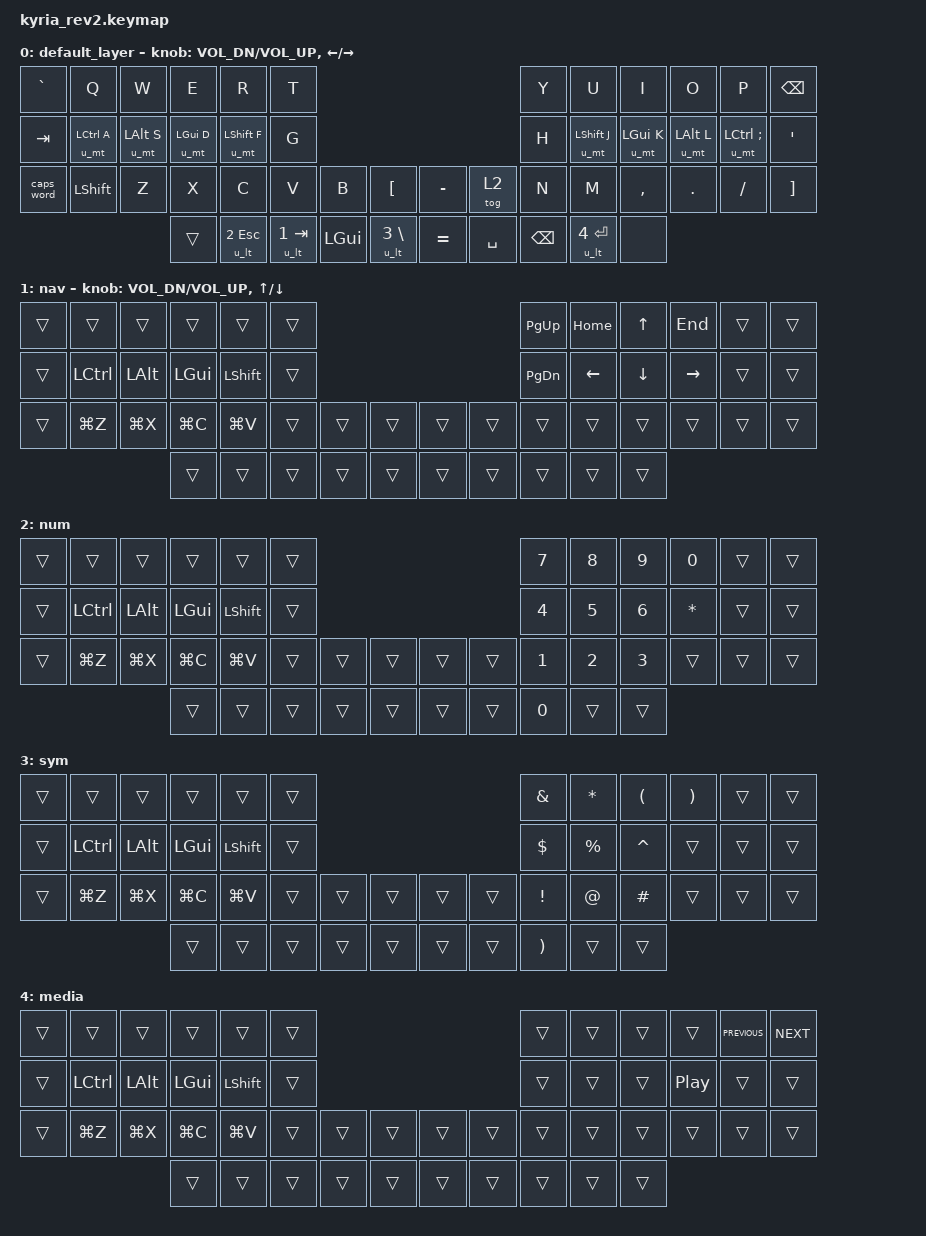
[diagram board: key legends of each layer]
/*
 * Copyright (c) 2020 The ZMK Contributors
 *
 * SPDX-Liicense-Identifier: MIT
 */

#include <behaviors.dtsi>
#include "miryoku_alt.dtsi"
#include <dt-bindings/zmk/keys.h>

/ {
    keymap {
        compatible = "zmk,keymap";

        default_layer {
            bindings = <
        &kp GRAVE &kp Q           &kp W           &kp E             &kp R      &kp T                                                                           &kp Y      &kp U      &kp I    &kp O      &kp P     &kp BACKSPACE
        &kp TAB  &u_mt LEFT_CONTROL A  &u_mt LEFT_ALT S  &u_mt LEFT_GUI D  &u_mt LEFT_SHIFT F      &kp G                                                                           &kp H  &u_mt LEFT_SHIFT J      &u_mt LEFT_GUI K      &u_mt LEFT_ALT L    &u_mt LEFT_CONTROL SEMI  &kp SINGLE_QUOTE
    &caps_word    &kp LEFT_SHIFT    &kp Z           &kp X           &kp C             &kp V      &kp B   &kp LEFT_BRACKET  &kp MINUS      &tog 2          &kp N      &kp M  &kp COMMA  &kp DOT  &kp SLASH         &kp RIGHT_BRACKET
                                                            &trans       &u_lt 2 ESC  &u_lt 1 TAB  &kp LEFT_GUI  &u_lt 3 BACKSLASH        &kp EQUAL  &kp SPACE  &kp BACKSPACE  &u_lt 4 RET      &none
            >;
            sensor-bindings = <&inc_dec_kp C_VOL_DN C_VOL_UP &inc_dec_kp LEFT_ARROW RIGHT_ARROW>;
        };

        nav {
            bindings = <
 &trans            &trans        &trans        &trans          &trans  &trans                                      &kp PG_UP  &kp HOME    &kp UP    &kp END  &trans  &trans
 &trans  &kp LEFT_CONTROL  &kp LEFT_ALT  &kp LEFT_GUI  &kp LEFT_SHIFT  &trans                                  &kp PAGE_DOWN  &kp LEFT  &kp DOWN  &kp RIGHT  &trans  &trans
 &trans         &kp LG(Z)     &kp LG(X)     &kp LG(C)       &kp LG(V)  &trans  &trans  &trans  &trans  &trans         &trans    &trans    &trans     &trans  &trans  &trans
                                               &trans          &trans  &trans  &trans  &trans  &trans  &trans         &trans    &trans    &trans
            >;
            sensor-bindings = <&inc_dec_kp C_VOL_DN C_VOL_UP &inc_dec_kp UP_ARROW DOWN_ARROW>;
        };

        num {
            bindings = <
 &trans            &trans        &trans        &trans          &trans  &trans                                  &kp NUMBER_7  &kp NUMBER_8  &kp NUMBER_9  &kp NUMBER_0  &trans  &trans
 &trans  &kp LEFT_CONTROL  &kp LEFT_ALT  &kp LEFT_GUI  &kp LEFT_SHIFT  &trans                                  &kp NUMBER_4  &kp NUMBER_5  &kp NUMBER_6     &kp ASTRK  &trans  &trans
 &trans         &kp LG(Z)     &kp LG(X)     &kp LG(C)       &kp LG(V)  &trans  &trans  &trans  &trans  &trans  &kp NUMBER_1  &kp NUMBER_2  &kp NUMBER_3        &trans  &trans  &trans
                                               &trans          &trans  &trans  &trans  &trans  &trans  &trans  &kp NUMBER_0  &trans        &trans
            >;
        };

        sym {
            bindings = <
 &trans            &trans        &trans        &trans          &trans  &trans                                         &kp AMPS         &kp ASTRK  &kp LEFT_PARENTHESIS  &kp RIGHT_PARENTHESIS  &trans  &trans
 &trans  &kp LEFT_CONTROL  &kp LEFT_ALT  &kp LEFT_GUI  &kp LEFT_SHIFT  &trans                                       &kp DOLLAR         &kp PERCENT             &kp CARET                 &trans  &trans  &trans
 &trans         &kp LG(Z)     &kp LG(X)     &kp LG(C)       &kp LG(V)  &trans  &trans  &trans  &trans  &trans  &kp EXCLAMATION         &kp AT_SIGN             &kp HASH                 &trans  &trans  &trans
                                               &trans          &trans  &trans  &trans  &trans  &trans  &trans  &kp RIGHT_PARENTHESIS   &trans                  &trans
            >;
        };

        media {
            bindings = <
 &trans            &trans        &trans        &trans          &trans  &trans                                  &trans  &trans  &trans            &trans  &kp C_PREVIOUS  &kp C_NEXT
 &trans  &kp LEFT_CONTROL  &kp LEFT_ALT  &kp LEFT_GUI  &kp LEFT_SHIFT  &trans                                  &trans  &trans  &trans  &kp C_PLAY_PAUSE          &trans      &trans
 &trans         &kp LG(Z)     &kp LG(X)     &kp LG(C)       &kp LG(V)  &trans  &trans  &trans  &trans  &trans  &trans  &trans  &trans            &trans          &trans      &trans
                                               &trans          &trans  &trans  &trans  &trans  &trans  &trans  &trans  &trans  &trans
            >;
        };
    };
};
